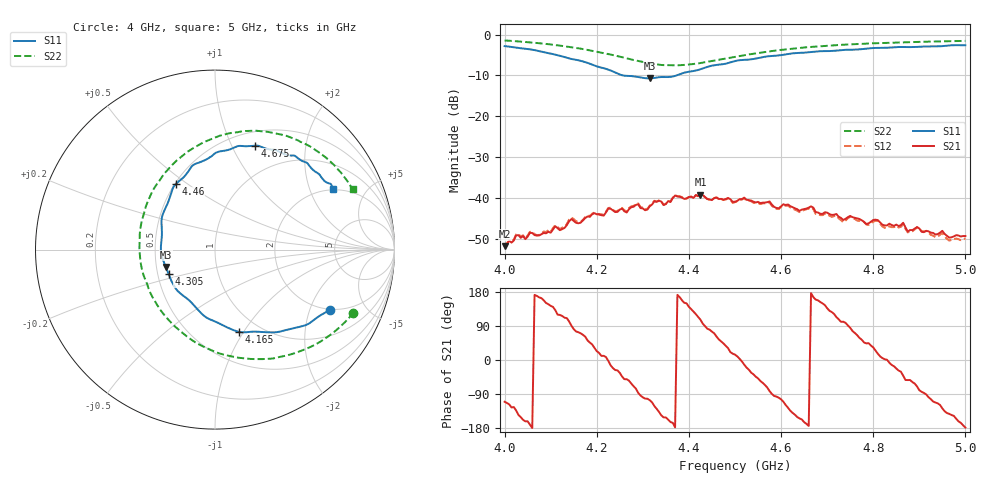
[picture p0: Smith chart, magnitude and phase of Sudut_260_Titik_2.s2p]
# Hz S RI R 50
! CMT, C1220, 16058040, 17.2.0/1
! Date: 15/08/2018 11:43:57
! Data: Format (Calibration Info)
! Freq  S11: Re/Im (F2)  S21: Re/Im (F2)  S12: Re/Im (F2)  S22: Re/Im (F2)
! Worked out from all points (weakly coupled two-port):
!   201 points, 4 GHz to 5 GHz, reference 50 ohm
!   highest |S21| = -39.25 dB at 4.425 GHz (marker M1); lowest = -51.9 dB at 4 GHz (marker M2)
!   lowest |S11| = -10.7 dB at 4.315 GHz (marker M3), VSWR 1.82, Z = 28 - j5.94 ohm
!   |S11| at or under -10 dB: 4.256 GHz to 4.373 GHz (116.9 MHz wide, 2.71 % of centre)
!   |S22| runs from -7.5 to -1.4 dB; largest |S21 - S12| = 0.00037
!   S11 on the Smith chart (normalised r, x): 4 GHz: 1.97, -2.77; 4.165 GHz: 0.80, -0.95; 4.305 GHz: 0.57, -0.17; 4.46 GHz: 0.51, +0.45; 4.675 GHz: 0.65, +1.23; 5 GHz: 1.95, +2.92
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4e9  0.6393 -0.3356  -0.000881 -0.0024  -0.000895 -0.00253  0.7712 -0.3512
4.025e9  0.5862 -0.3667  -0.00237 -0.00253  -0.00237 -0.00266  0.7232 -0.405
4.045e9  0.5365 -0.4037  -0.00296 -0.000969  -0.00296 -0.0011  0.6777 -0.447
4.055e9  0.5099 -0.4188  -0.00367 -0.000593  -0.00376 -0.000733  0.6538 -0.4673
4.12e9  0.2992 -0.4612  -0.00194 0.00351  -0.00204 0.00359  0.4557 -0.5732
4.145e9  0.2084 -0.4572  -5.2e-05 0.00548  -0.000233 0.00571  0.3625 -0.5975
4.165e9  0.133 -0.4581  0.00166 0.00467  0.00167 0.00475  0.284 -0.6093
4.17e9  0.1169 -0.4536  0.00211 0.00484  0.00211 0.00495  0.2633 -0.6101
4.225e9  -0.0639 -0.3666  0.00737 -0.000286  0.00749 -0.000167  0.0211 -0.5773
4.265e9  -0.1773 -0.2567  0.00419 -0.0051  0.00436 -0.00525  -0.1492 -0.4896
4.29e9  -0.2357 -0.1884  0.000441 -0.00831  0.000399 -0.0085  -0.2451 -0.4062
4.305e9  -0.2586 -0.1364  -0.00144 -0.00688  -0.00156 -0.00708  -0.2933 -0.3507
4.315e9  -0.274 -0.0969  -0.00218 -0.00756  -0.00227 -0.00767  -0.3226 -0.3078
4.335e9  -0.299 -0.0292  -0.00672 -0.00629  -0.00689 -0.00622  -0.3703 -0.2162
4.425e9  -0.258 0.2729  -0.00307 0.0105  -0.00291 0.0105  -0.3915 0.2184
4.46e9  -0.22 0.3635  0.00477 0.00886  0.00501 0.00876  -0.3262 0.3611
4.5e9  -0.137 0.4535  0.00869 0.0022  0.00858 0.0021  -0.2244 0.4855
4.585e9  0.0365 0.5485  -0.000664 -0.0077  -0.000738 -0.00746  0.0251 0.6341
4.67e9  0.2134 0.578  -0.00734 0.00184  -0.00702 0.0019  0.2596 0.6589
4.675e9  0.2214 0.5792  -0.00628 0.00235  -0.00592 0.00228  0.2719 0.6587
4.835e9  0.4843 0.4944  0.00478 -0.000599  0.00445 -0.000424  0.5858 0.5365
5e9  0.6576 0.3392  -0.0034 -9.87e-05  -0.00317 -0.000222  0.7662 0.3379
